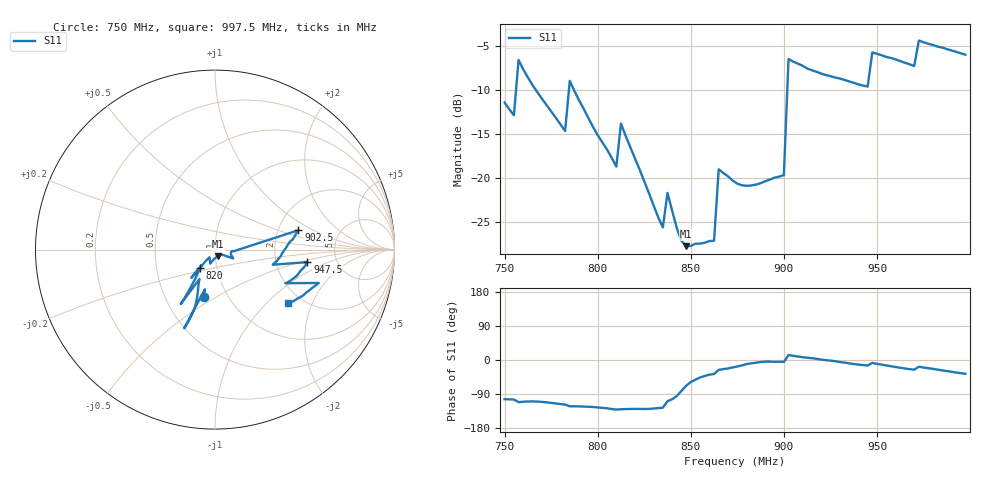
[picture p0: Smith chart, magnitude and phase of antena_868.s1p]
! antena_868
! NanoVNA, 2026-10-25T21:38:15
# HZ S RI R 50
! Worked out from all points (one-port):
!   100 points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, 750 MHz to 997.5 MHz, reference 50 ohm
!   lowest |S11| = -27.7 dB at 847.5 MHz (marker M1), VSWR 1.09, Z = 51.4 - j3.93 ohm
!   |S11| at or under -10 dB: start of sweep to 756.1 MHz; 766.9 MHz to 784.5 MHz (17.61 MHz wide, 2.27 % of centre); 787.3 MHz to 901.8 MHz (114.5 MHz wide, 13.6 % of centre)
!   S11 on the Smith chart (normalised r, x): 750 MHz: 0.77, -0.44; 820 MHz: 0.83, -0.17; 902.5 MHz: 2.59, +0.72; 947.5 MHz: 3.04, -0.58; 997.5 MHz: 1.68, -1.35
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7.5e8  -0.0623 -0.2622
7.55e8  -0.0567 -0.2214
7.575e8  -0.1715 -0.4383
7.675e8  -0.1046 -0.2915
7.825e8  -0.0865 -0.1644
7.85e8  -0.1909 -0.3031
7.95e8  -0.1212 -0.1835
8.1e8  -0.0765 -0.0881
8.125e8  -0.1316 -0.1569
8.2e8  -0.0818 -0.1009
8.35e8  -0.0309 -0.0427
8.375e8  -0.0266 -0.0782
8.45e8  0.00648 -0.0437
8.475e8  0.0154 -0.0382
8.625e8  0.0354 -0.0266
8.65e8  0.1012 -0.0494
8.75e8  0.0892 -0.0275
8.825e8  0.09 -0.014
9e8  0.104 -0.00916
9.025e8  0.4646 0.1079
9.05e8  0.4519 0.0891
9.375e8  0.3431 -0.0647
9.45e8  0.3217 -0.0844
9.475e8  0.5148 -0.0696
9.675e8  0.4064 -0.1814
9.7e8  0.3922 -0.1874
9.725e8  0.5786 -0.1858
9.975e8  0.4057 -0.2998
